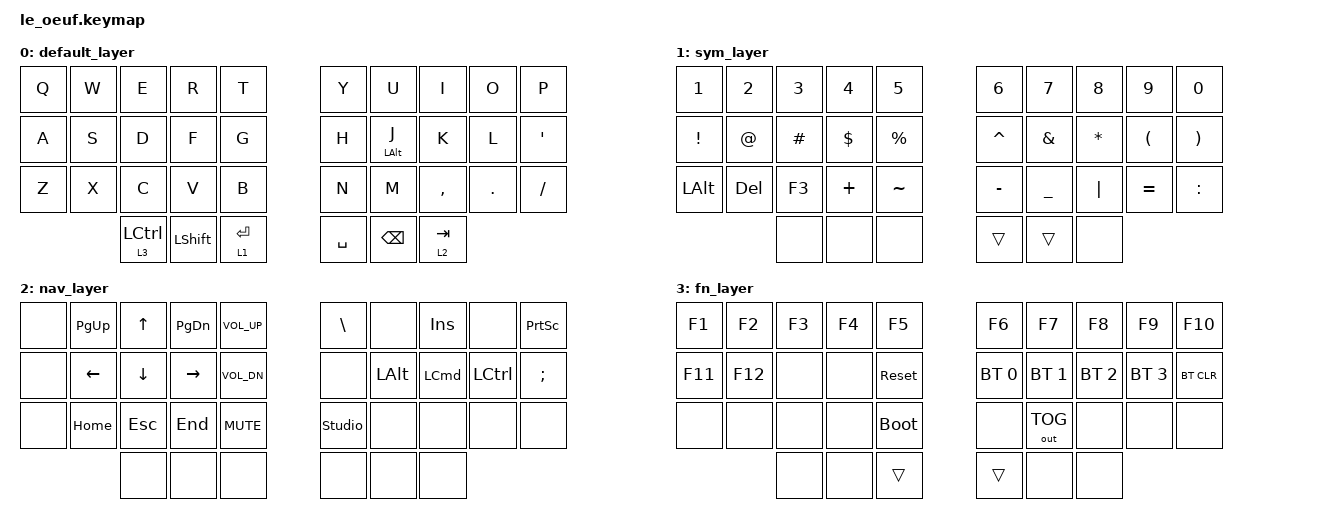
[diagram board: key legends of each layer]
/*
 * Copyright (c) 2024 Travis Mick
 *
 * SPDX-License-Identifier: MIT
 */

#include <behaviors.dtsi>
#include <dt-bindings/zmk/keys.h>
#include <dt-bindings/zmk/bt.h>
#include <dt-bindings/zmk/outputs.h>

&mt {
    flavor = "balanced";
    tapping-term-ms = <200>;
};

&lt {
    flavor = "balanced";
    tapping-term-ms = <200>;
};

/ {
    keymap {
        compatible = "zmk,keymap";

        default_layer {
            bindings = <
                      &kp Q          &kp W        &kp E         &kp R         &kp T                       &kp Y        &kp U         &kp I         &kp O          &kp P   
                      &kp A    &kp S  &kp D    &kp F    &kp G                       &kp H        &mt LALT J    &kp K    &kp L    &kp APOS
                      &kp Z    &kp X   &kp C    &kp V         &kp B                       &kp N        &kp M         &kp COMMA     &kp DOT        &kp FSLH
                                                  &lt 3 LCTRL         &kp LSHIFT      &lt 1 ENTER                 &kp SPACE  &kp BSPC      &lt 2 TAB
            >;
        };

        sym_layer {
            bindings = <
                      &kp N1         &kp N2       &kp N3        &kp N4        &kp N5                      &kp N6       &kp N7        &kp N8        &kp N9         &kp N0   
                      &kp EXCL       &kp AT       &kp HASH       &kp DLLR     &kp PRCNT                   &kp CARET    &kp AMPS      &kp STAR      &kp LPAR      &kp RPAR
                      &kp LALT         &kp DEL     &kp F3      &kp PLUS        &kp TILDE                  &kp MINUS    &kp UNDER      &kp PIPE     &kp EQUAL      &kp COLON
                                                  &none         &none      &none                          &trans        &trans       &none
            >;
        };

        nav_layer {
            bindings = <
                      &none          &kp PG_UP    &kp UP        &kp PG_DN     &kp C_VOL_UP                &kp BSLH        &none         &kp INS       &none          &kp PSCRN
                      &none          &kp LEFT     &kp DOWN      &kp RIGHT     &kp C_VOL_DN                &none        &kp LALT      &kp LCMD      &kp LCTRL      &kp SEMI
                      &none          &kp HOME     &kp ESC       &kp END       &kp C_MUTE                  &studio_unlock        &none         &none         &none          &none
                                                  &none         &none      &none                       &none       &none       &none
            >;
        };

        fn_layer {
            bindings = <
                      &kp F1         &kp F2       &kp F3        &kp F4        &kp F5                      &kp F6         &kp F7        &kp F8        &kp F9         &kp F10
                      &kp F11        &kp F12      &none         &none         &sys_reset                  &bt BT_SEL 0   &bt BT_SEL 1  &bt BT_SEL 2  &bt BT_SEL 3   &bt BT_CLR
                      &none          &none        &none         &none         &bootloader                 &none &out OUT_TOG  &none         &none          &none
                                                  &none         &none         &trans                      &trans         &none         &none
            >;
        };
      
    };
};
